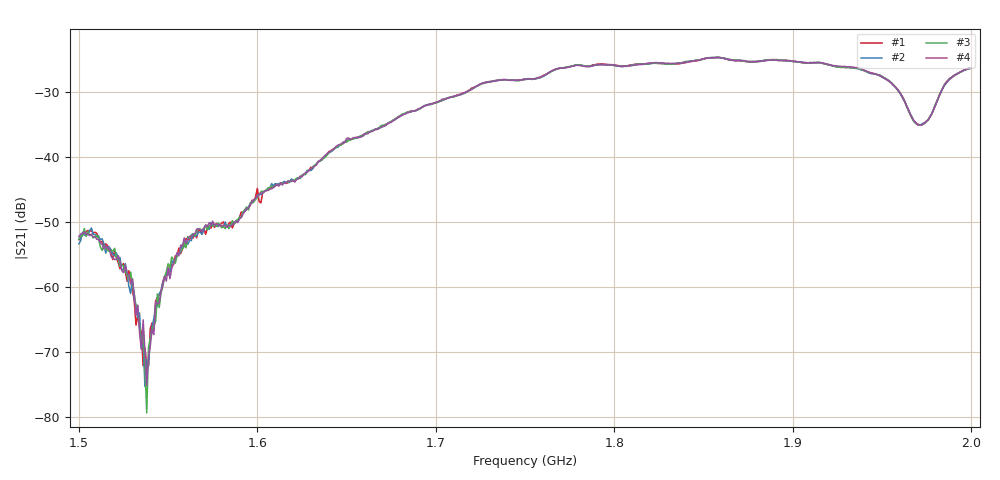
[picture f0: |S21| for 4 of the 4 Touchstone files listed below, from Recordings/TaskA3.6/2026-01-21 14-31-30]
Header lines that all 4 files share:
! NanoVNA-App by SYSJOINT et al v1.1.209 (+OD18)
! Start: 1,5GHz Stop: 2GHz Points: 501
! S-Parameter data: F S11 S21 S12 S22
# Hz S RI R 50
!  Frequency  S11_Real  S11_Imag  S21_Real  S21_Imag  S12_Real  S12_Imag  S22_Real  S22_Imag
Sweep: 1.5 GHz to 2 GHz
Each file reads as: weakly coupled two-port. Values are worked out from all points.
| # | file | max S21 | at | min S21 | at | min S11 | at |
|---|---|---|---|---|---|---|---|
| 1 | 0.s2p | -24.66 dB | 1.858 GHz | -72.2 dB | 1.539 GHz | -30.2 dB | 1.817 GHz |
| 2 | 1.s2p | -24.64 dB | 1.857 GHz | -75.4 dB | 1.537 GHz | -30.3 dB | 1.817 GHz |
| 3 | 2.s2p | -24.63 dB | 1.858 GHz | -79.4 dB | 1.538 GHz | -29.5 dB | 1.816 GHz |
| 4 | 3.s2p | -24.63 dB | 1.857 GHz | -75.2 dB | 1.538 GHz | -29.6 dB | 1.817 GHz |
